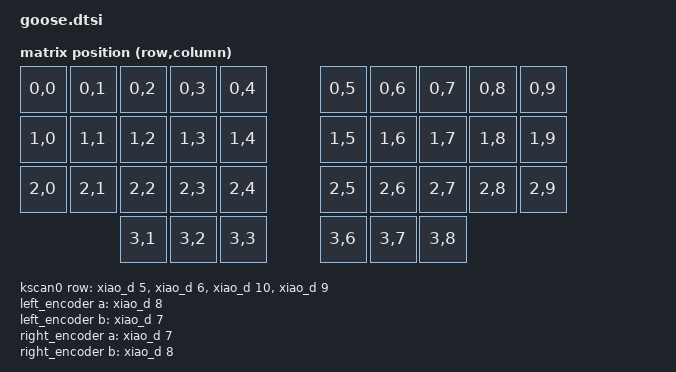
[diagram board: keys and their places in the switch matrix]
#include <dt-bindings/zmk/matrix_transform.h>

#include "goose-layouts.dtsi"

/ {
    chosen {
        zmk,kscan = &kscan0;
        zmk,physical-layout = &default_layout;
    };

    kscan0: kscan {
        compatible = "zmk,kscan-gpio-matrix";
        diode-direction = "col2row";
        wakeup-source;

        row-gpios
            = <&xiao_d 5 (GPIO_PULL_DOWN | GPIO_ACTIVE_HIGH)>
            , <&xiao_d 6 (GPIO_PULL_DOWN | GPIO_ACTIVE_HIGH)>
            , <&xiao_d 10 (GPIO_PULL_DOWN | GPIO_ACTIVE_HIGH)>
            , <&xiao_d 9 (GPIO_PULL_DOWN | GPIO_ACTIVE_HIGH)>
            ;
    };

    default_transform: keymap_transform_0 {
        compatible = "zmk,matrix-transform";
        columns = <10>;
        rows = <4>;
        map = <
                RC(0,0) RC(0,1) RC(0,2) RC(0,3) RC(0,4)    RC(0,5) RC(0,6) RC(0,7) RC(0,8) RC(0,9)
                RC(1,0) RC(1,1) RC(1,2) RC(1,3) RC(1,4)    RC(1,5) RC(1,6) RC(1,7) RC(1,8) RC(1,9)
                RC(2,0) RC(2,1) RC(2,2) RC(2,3) RC(2,4)    RC(2,5) RC(2,6) RC(2,7) RC(2,8) RC(2,9)
                                RC(3,1) RC(3,2) RC(3,3)    RC(3,6) RC(3,7) RC(3,8) 
        >;
    };

    /* &default_layout { */
    /*   kscan = <&kscan>; */
    /*   transform = <&default_transform>; */
    /* }; */

    left_encoder: left_encoder {
        compatible = "alps,ec11";
        steps = <80>;
        status = "disabled";

        a-gpios = <&xiao_d 8 (GPIO_ACTIVE_HIGH | GPIO_PULL_UP)>;
        b-gpios = <&xiao_d 7 (GPIO_ACTIVE_HIGH | GPIO_PULL_UP)>;
    };

    right_encoder: right_encoder {
        compatible = "alps,ec11";
        steps = <80>;
        status = "disabled";

        a-gpios = <&xiao_d 7 (GPIO_ACTIVE_HIGH | GPIO_PULL_UP)>;
        b-gpios = <&xiao_d 8 (GPIO_ACTIVE_HIGH | GPIO_PULL_UP)>;
    };

    sensors {
        compatible = "zmk,keymap-sensors";
        sensors = <&left_encoder &right_encoder>;
        triggers-per-rotation = <24>;
    };

};
